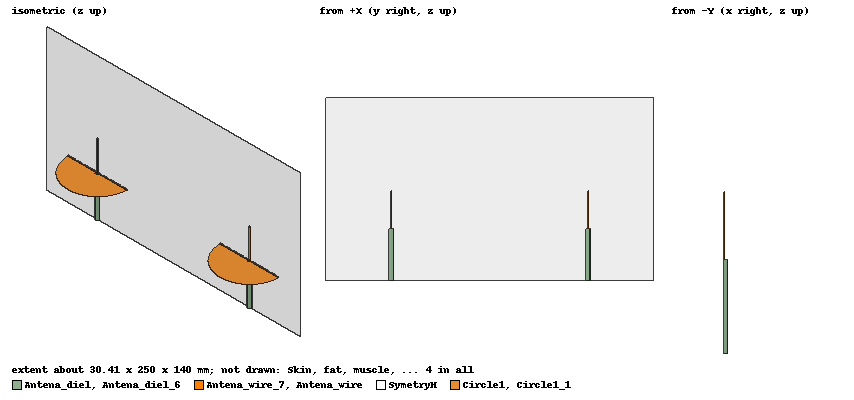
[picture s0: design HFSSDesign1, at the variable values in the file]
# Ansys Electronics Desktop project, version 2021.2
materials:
  Antenae_diel: permittivity=2.4
  fat_2.45GHz: permittivity=5.3 conductivity=10
  mucle_2.45GHz: permittivity=54.4 conductivity=1.74
  pec: conductivity=1e+30
  skin_2.45GHz: permittivity=38 conductivity=1.46
  vacuum: permittivity=1
  phantom_fat: permittivity=5.3 permeability=1 conductivity=0.1

design HFSSDesign1 (HFSS, DrivenModal, model units mm)
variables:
  phantom_w = 100mm
  skin_t = 2mm
  fat_t = 10mm
  muscle_t = 28mm
  ant_l = 29mm
  ant_d = 150mm
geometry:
  Skin [skin_2.45GHz] = box(corner=(-phantom_w/2, -phantom_w/2, 0mm), size=(phantom_w, phantom_w+ant_d, -skin_t))
  fat [phantom_fat] = box(corner=(-phantom_w/2, -phantom_w/2, -skin_t), size=(phantom_w, phantom_w+ant_d, -fat_t))
  muscle [mucle_2.45GHz] = box(corner=(-phantom_w/2, -phantom_w/2, -skin_t -fat_t), size=(phantom_w, phantom_w+ant_d, -muscle_t))
  Antena_diel [Antenae_diel] = cylinder(axis=Z, base_centre=(0mm, 0mm, 0mm), radius=1.8mm, height=-skin_t-muscle_t-fat_t)
  Antena_wire [pec] = cylinder(axis=Z, base_centre=(0mm, 0mm, ant_l), radius=0.5mm, height=-(ant_l+skin_t+fat_t+muscle_t))
  Circle1 [pec] = circle(normal=Z, centre=(0mm, 0mm, 0mm), radius=ant_l)
  AIR [vacuum] = box(corner=(-phantom_w/2, -phantom_w/2, 0), size=(phantom_w, phantom_w+ant_d, 100mm))
  Antena_diel_1 = Antena_diel.copy()
  Antena_wire_1 = Antena_wire.copy()
  AIR.subtract(Antena_diel_1, Antena_wire_1)
  Antena_diel_2 = Antena_diel.copy()
  Antena_wire_2 = Antena_wire.copy()
  Circle1.subtract(Antena_diel_2, Antena_wire_2)
  Antena_diel_3 = Antena_diel.copy()
  Antena_wire_3 = Antena_wire.copy()
  fat.subtract(Antena_diel_3, Antena_wire_3)
  Antena_diel_4 = Antena_diel.copy()
  Antena_wire_4 = Antena_wire.copy()
  muscle.subtract(Antena_diel_4, Antena_wire_4)
  Antena_diel_5 = Antena_diel.copy()
  Antena_wire_5 = Antena_wire.copy()
  Skin.subtract(Antena_diel_5, Antena_wire_5)
  Antena_wire_6 = Antena_wire.copy()
  Antena_diel.subtract(Antena_wire_6)
  Circle1_1 [pec] = Circle1.duplicate_along_line(step=(0mm, ant_d, 0mm), total=2)
  Antena_wire_7 [pec] = Antena_wire.duplicate_along_line(step=(0mm, ant_d, 0mm), total=2)
  Antena_diel_6 [Antenae_diel] = Antena_diel.duplicate_along_line(step=(0mm, ant_d, 0mm), total=2)
  Antena_diel_6_1 = Antena_diel_6.copy()
  Antena_wire_7_1 = Antena_wire_7.copy()
  AIR.subtract(Antena_diel_6_1, Antena_wire_7_1)
  Antena_diel_6_2 = Antena_diel_6.copy()
  Antena_wire_7_2 = Antena_wire_7.copy()
  fat.subtract(Antena_diel_6_2, Antena_wire_7_2)
  Antena_diel_6_3 = Antena_diel_6.copy()
  Antena_wire_7_3 = Antena_wire_7.copy()
  muscle.subtract(Antena_diel_6_3, Antena_wire_7_3)
  Antena_diel_6_4 = Antena_diel_6.copy()
  Antena_wire_7_4 = Antena_wire_7.copy()
  Skin.subtract(Antena_diel_6_4, Antena_wire_7_4)
  Box1 = box(corner=(0mm, -phantom_w/2, -skin_t-fat_t-muscle_t), size=(-phantom_w/2, phantom_w+ant_d, skin_t+fat_t+muscle_t+100mm))
  Box1_1 = Box1.copy()
  AIR.subtract(Box1_1)
  Box1_2 = Box1.copy()
  Antena_diel.subtract(Box1_2)
  Box1_3 = Box1.copy()
  Antena_diel_6.subtract(Box1_3)
  Box1_4 = Box1.copy()
  Antena_wire.subtract(Box1_4)
  Box1_5 = Box1.copy()
  Antena_wire_7.subtract(Box1_5)
  Box1_6 = Box1.copy()
  Circle1.subtract(Box1_6)
  Box1_7 = Box1.copy()
  Circle1_1.subtract(Box1_7)
  Box1_8 = Box1.copy()
  fat.subtract(Box1_8)
  Box1_9 = Box1.copy()
  muscle.subtract(Box1_9)
  Skin.subtract(Box1)
  SymetryH = rectangle(corner=(0mm, -phantom_w/2, -skin_t-muscle_t-fat_t), y_size=phantom_w+ant_d, z_size=skin_t+fat_t+muscle_t+100mm)
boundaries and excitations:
  PerfE2: Perfect E Faces=Antena_diel.face(1 of 3)
  Rad1: Radiation Faces=Skin.face(+x, -y) fat.face(+x, -y, +y) muscle.face(+x, -y, +y)
  Rad3: Radiation Faces=Skin.face(+y)
  PerfE3: Perfect E Objects=Circle1
  Rad4: Radiation Faces=AIR.face(+z, -y, +y, +x)
  PerfE4: Perfect E Faces=Antena_diel_6.face(2 of 4)
  PerfE5: Perfect E Objects=Circle1_1
  Sym1: Symmetry Objects=SymetryH IsPerfectE=false
  1: Wave Port Faces=Antena_diel.face(2 of 3) NumModes=1 Modes{Mode1{IntLine{middle of Antena_diel.edge(at (-0.5, 0, -40)) -> middle of Antena_diel.edge(1 of 2)} CharImp=Zpi}}
  2: Wave Port Faces=Antena_diel_6.face(3 of 4) NumModes=1 Modes{Mode1{IntLine{middle of Antena_diel_6.edge(2 of 4) -> middle of Antena_diel_6.edge(3 of 4)} CharImp=Zpi}}
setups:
  Setup1: HfssDriven Frequency=2.45GHz MaxDeltaS=0.02 MaximumPasses=3 MinimumPasses=1 MinimumConvergedPasses=1 PercentRefinement=30 BasisOrder=1 PortAccuracy=2
    sweep Sweep: 2GHz to 3GHz, 21 points; Type=Interpolating InterpTolerance=0.5 InterpMaxSolns=250 InterpUsePortImped=false PassivityErrorTolerance=0.0001
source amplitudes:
  1:1: 1W 0deg
  2:1: 0W 0deg
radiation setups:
  Infinite Sphere1: Infinite Sphere Theta=0deg..180deg step 2deg Phi=-180deg..180deg step 2deg
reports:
  Gain Plot 1: dB(GainTotal) vs Phi, Theta on Setup1 : LastAdaptive, Infinite Sphere1 [Freq=2.45GHz]
  S Parameter Plot 1: dB(S(1,1)) vs Freq on Setup1 : Sweep; dB(S(1,1)) vs Freq
  Port Zo Plot 1: re(Zo(1)) vs Freq on Setup1 : Sweep; re(Zo(1)) vs Freq
